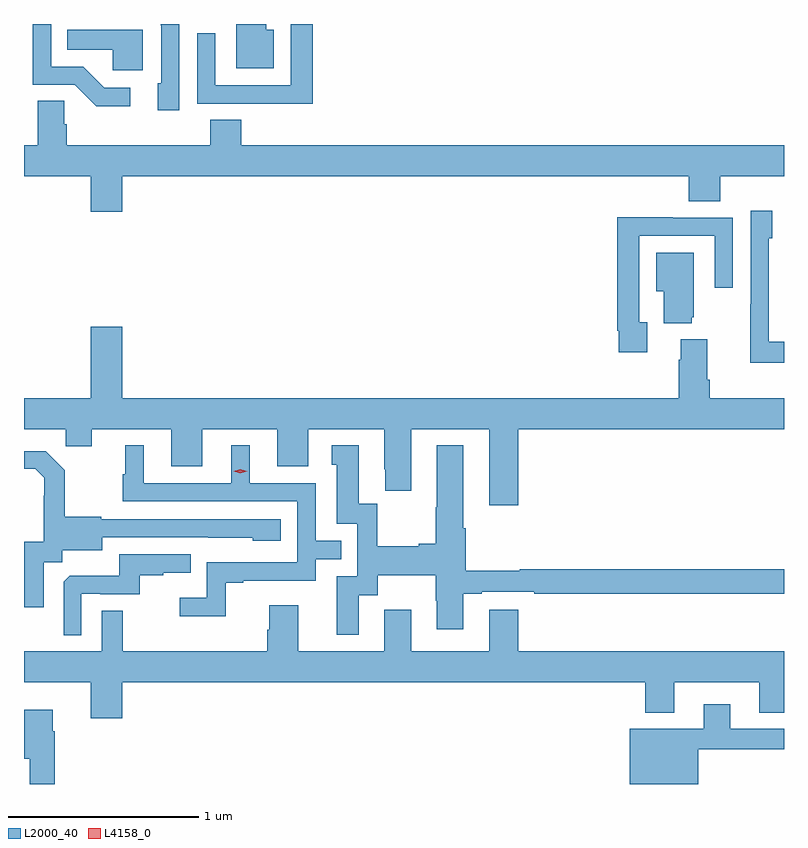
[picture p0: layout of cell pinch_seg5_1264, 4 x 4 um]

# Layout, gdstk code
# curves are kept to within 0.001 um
import gdstk
lib = gdstk.Library(unit=1e-6, precision=1e-09)
def P(c, l, *ps):  # polygons
    for p in ps: c.add(gdstk.Polygon(p, *l))
L2000_40 = (2000, 40)
L4158_0 = (4158, 0)

pinch_seg5_1264 = lib.new_cell('pinch_seg5_1264')
P(pinch_seg5_1264, L2000_40, [(429.706,844.21),(429.667,844.21),(429.667,844.241),(429.509,844.241),(429.509,844.007),(429.706,844.007)],
  [(428.95,843.906),(428.815,843.906),(428.704,844.017),(428.535,844.017),(428.535,844.241),(428.439,844.241),(428.439,843.921),(428.658,843.921),(428.771,843.809),(428.95,843.809)],
  [(429.21,844.241),(429.113,844.241),(429.113,844.234),(429.114,844.234),(429.114,843.93),(429.095,843.93),(429.095,843.786),(429.21,843.786)],
  [(429.911,844.241),(429.795,844.241),(429.795,843.918),(429.399,843.918),(429.399,844.192),(429.303,844.192),(429.303,843.822),(429.619,843.822),(429.619,843.821),(429.911,843.821)],
  [(429.016,844.21),(428.62,844.21),(428.62,844.106),(428.859,844.106),(428.859,843.998),(429.016,843.998)],
  [(428.908,843.44),(431.891,843.44),(431.891,843.307),(432.056,843.307),(432.056,843.44),(432.392,843.44),(432.392,843.604),(429.536,843.604),(429.536,843.737),(429.371,843.737),(429.371,843.604),(428.618,843.604),(428.618,843.713),(428.604,843.713),(428.604,843.836),(428.465,843.836),(428.465,843.604),(428.392,843.604),(428.392,843.44),(428.744,843.44),(428.744,843.252),(428.908,843.252)],
  [(432.392,842.569),(432.313,842.569),(432.313,842.765),(432.312,842.765),(432.312,843.114),(432.331,843.114),(432.331,843.259),(432.216,843.259),(432.216,842.765),(432.214,842.765),(432.214,842.459),(432.392,842.459)],
  [(431.671,842.67),(431.631,842.67),(431.631,843.126),(432.027,843.126),(432.027,842.853),(432.123,842.853),(432.123,843.222),(431.807,843.222),(431.807,843.224),(431.515,843.224),(431.515,842.626),(431.523,842.626),(431.523,842.514),(431.671,842.514)],
  [(431.906,842.697),(431.917,842.697),(431.917,843.037),(431.72,843.037),(431.72,842.834),(431.759,842.834),(431.759,842.666),(431.906,842.666)],
  [(430.994,842.108),(432.392,842.108),(432.392,842.272),(432.002,842.272),(432.002,842.368),(431.989,842.368),(431.989,842.581),(431.849,842.581),(431.849,842.474),(431.837,842.474),(431.837,842.272),(428.908,842.272),(428.908,842.647),(428.744,842.647),(428.744,842.272),(428.392,842.272),(428.392,842.108),(428.611,842.108),(428.611,842.018),(428.749,842.018),(428.749,842.108),(429.167,842.108),(429.167,841.914),(429.331,841.914),(429.331,842.108),(429.725,842.108),(429.725,841.914),(429.889,841.914),(429.889,842.108),(430.289,842.108),(430.289,841.897),(430.292,841.897),(430.292,841.785),(430.429,841.785),(430.429,842.108),(430.841,842.108),(430.841,841.707),(430.994,841.707)],
  [(430.153,841.234),(430.255,841.234),(430.255,841.34),(430.558,841.34),(430.558,841.206),(430.565,841.206),(430.565,841.056),(430.705,841.056),(430.705,841.242),(430.801,841.242),(430.801,841.254),(431.077,841.254),(431.077,841.242),(432.392,841.242),(432.392,841.37),(431.001,841.37),(431.001,841.363),(430.718,841.363),(430.718,841.588),(430.705,841.588),(430.705,842.023),(430.565,842.023),(430.565,841.697),(430.558,841.697),(430.558,841.505),(430.469,841.505),(430.469,841.492),(430.251,841.492),(430.251,841.715),(430.153,841.715),(430.153,842.023),(430.013,842.023),(430.013,841.92),(430.037,841.92),(430.037,841.611),(430.146,841.611),(430.146,841.335),(430.037,841.335),(430.037,841.026),(430.153,841.026)],
  [(429.453,841.299),(429.547,841.299),(429.547,841.311),(429.927,841.311),(429.927,841.425),(430.061,841.425),(430.061,841.521),(429.927,841.521),(429.927,841.824),(429.58,841.824),(429.58,842.023),(429.482,842.023),(429.482,841.824),(429.022,841.824),(429.022,842.023),(428.924,842.023),(428.924,841.872),(428.913,841.872),(428.913,841.728),(429.831,841.728),(429.831,841.407),(429.354,841.407),(429.354,841.222),(429.213,841.222),(429.213,841.124),(429.453,841.124)],
  [(428.497,841.408),(428.592,841.408),(428.592,841.472),(428.803,841.472),(428.803,841.539),(429.597,841.538),(429.597,841.52),(429.742,841.52),(429.742,841.635),(428.799,841.635),(428.799,841.648),(428.607,841.648),(428.607,841.893),(428.507,841.993),(428.392,841.993),(428.392,841.899),(428.451,841.899),(428.498,841.852),(428.498,841.757),(428.496,841.757),(428.496,841.516),(428.392,841.516),(428.393,841.17),(428.497,841.17)],
  [(428.694,841.242),(428.794,841.242),(428.794,841.239),(429.002,841.239),(429.002,841.341),(429.125,841.341),(429.125,841.352),(429.269,841.352),(429.269,841.449),(428.892,841.449),(428.892,841.337),(428.633,841.337),(428.601,841.305),(428.601,841.025),(428.694,841.025)],
  [(428.908,840.776),(431.663,840.776),(431.663,840.617),(431.815,840.617),(431.815,840.776),(432.263,840.776),(432.263,840.616),(432.392,840.616),(432.392,840.94),(430.994,840.94),(430.994,841.159),(430.841,841.159),(430.841,840.94),(430.429,840.94),(430.429,841.159),(430.289,841.159),(430.289,840.94),(429.835,840.94),(429.835,841.183),(429.683,841.183),(429.683,841.053),(429.671,841.053),(429.671,840.94),(428.911,840.94),(428.911,841.154),(428.802,841.154),(428.802,840.94),(428.392,840.94),(428.392,840.776),(428.744,840.776),(428.744,840.588),(428.908,840.588)],
  [(431.941,840.423),(432.392,840.423),(432.392,840.531),(432.109,840.531),(432.109,840.661),(431.969,840.661),(431.969,840.532),(431.579,840.532),(431.579,840.241),(431.941,840.241)],
  [(428.555,840.518),(428.542,840.518),(428.542,840.631),(428.392,840.631),(428.392,840.375),(428.423,840.375),(428.423,840.241),(428.555,840.241)])
P(pinch_seg5_1264, L4158_0, [(429.531,841.877),(429.496,841.886),(429.495,841.887),(429.496,841.887),(429.531,841.897),(429.566,841.887),(429.567,841.887),(429.566,841.886)])

lib.write_gds('pinch_seg5_1264.gds')
